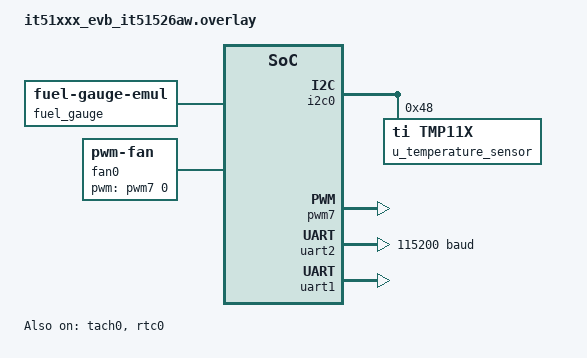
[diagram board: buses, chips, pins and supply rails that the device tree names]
/*
 * Copyright (c) 2026
 * SPDX-License-Identifier: Apache-2.0
 *
 * Devicetree overlay for the zephyr-odp sample on it51xxx_evb/it51526aw.
 *
 * Real hardware: TMP117 on i2c0, fan on pwm7 (GPA7), tachometer on tach0 (GPD6),
 * RTC on rtc0, MCTP transport on uart1 (GPC7/GPE6).  The console moves to uart2
 * (GPH1/GPH2) so it does not collide with the MCTP transport.
 * Emulated: the fuel gauge, which has no hardware on this part.
 */

&i2c0 {
	u_temperature_sensor: tmp117@48 {
		compatible = "ti,tmp11x";
		reg = <0x48>;
	};
};

/ {
	chosen {
		zephyr,console = &uart2;
		zephyr,shell-uart = &uart2;
	};

	fuel_gauge: fuel-gauge-emul {
		compatible = "zephyr,fuel-gauge-emul";
		status = "okay";
	};

	fan0: my-fan {
		compatible = "pwm-fan";
		/* Period is in CYCLES, not ns: the Rust wrapper calls pwm_set_cycles().
		 * 9.2 MHz / 368 = 25 kHz, the standard 4-wire fan PWM frequency.
		 */
		pwms = <&pwm7 0 368 0>;
		tachometer = <&tach0>;
		max-rpm = <5000>;
		min-rpm = <0>;
		min-start-rpm = <1500>;
	};

	/* The Rust wrapper node. The node name must stay "rs-rtc". */
	rs_rtc0: rs-rtc {
		compatible = "rs,rtc";
		rtc = <&rtc0>;
		resolution-hz = <1>;
	};
};

&pwm7 {
	status = "okay";
};

&tach0 {
	status = "okay";
};

&rtc0 {
	status = "okay";
};

&uart2 {
	status = "okay";
	current-speed = <115200>;
	clock-frequency = <1843200>;
	pinctrl-0 = <&uart2_rx_gph1_default
		     &uart2_tx_gph2_default>;
	pinctrl-names = "default";
};

/* uart1 is already enabled by the board dts; this only attaches the label. */
app_uart: &uart1 {
	status = "okay";
};
